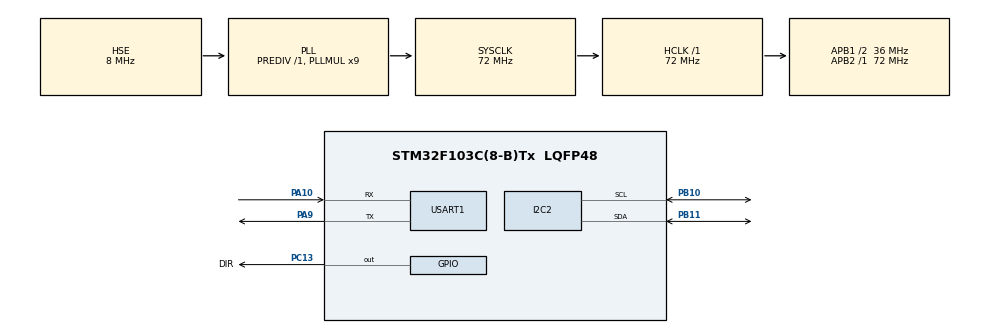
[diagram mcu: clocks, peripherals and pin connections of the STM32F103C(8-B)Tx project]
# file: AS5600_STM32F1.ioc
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I2C2.I2C_Mode=I2C_Fast
Mcu.Family=STM32F1
Mcu.Name=STM32F103C(8-B)Tx
Mcu.Package=LQFP48
NVIC.I2C2_EV_IRQn=true\:0\:0\:false\:false\:true\:true\:true\:true
NVIC.PriorityGroup=NVIC_PRIORITYGROUP_4
NVIC.USART1_IRQn=true\:0\:0\:false\:false\:true\:true\:true\:true
PA10.Mode=Asynchronous
PA10.Signal=USART1_RX
PA13.Mode=Serial_Wire
PA13.Signal=SYS_JTMS-SWDIO
PA14.Mode=Serial_Wire
PA14.Signal=SYS_JTCK-SWCLK
PA9.Mode=Asynchronous
PA9.Signal=USART1_TX
PB10.Mode=I2C
PB10.Signal=I2C2_SCL
PB11.Mode=I2C
PB11.Signal=I2C2_SDA
PC13-TAMPER-RTC.GPIO_Label=DIR
PC13-TAMPER-RTC.Signal=GPIO_Output
PC14-OSC32_IN.Mode=LSE-External-Oscillator
PC14-OSC32_IN.Signal=RCC_OSC32_IN
PC15-OSC32_OUT.Mode=LSE-External-Oscillator
PC15-OSC32_OUT.Signal=RCC_OSC32_OUT
PD0-OSC_IN.Mode=HSE-External-Oscillator
PD0-OSC_IN.Signal=RCC_OSC_IN
PD1-OSC_OUT.Mode=HSE-External-Oscillator
PD1-OSC_OUT.Signal=RCC_OSC_OUT
ProjectManager.HeapSize=0x200
ProjectManager.StackSize=0x400
ProjectManager.TargetToolchain=STM32CubeIDE
RCC.AHBFreq_Value=72000000
RCC.APB1CLKDivider=RCC_HCLK_DIV2
RCC.APB1Freq_Value=36000000
RCC.APB1TimFreq_Value=72000000
RCC.APB2Freq_Value=72000000
RCC.APB2TimFreq_Value=72000000
RCC.HCLKFreq_Value=72000000
RCC.PLLMUL=RCC_PLL_MUL9
RCC.PLLSourceVirtual=RCC_PLLSOURCE_HSE
RCC.SYSCLKFreq_VALUE=72000000
RCC.SYSCLKSource=RCC_SYSCLKSOURCE_PLLCLK
RCC.USBFreq_Value=72000000
USART1.VirtualMode=VM_ASYNC
board=custom

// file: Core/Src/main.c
/* USER CODE BEGIN Header */
/**
  ******************************************************************************
  * @file           : main.c
  * @brief          : Main program body
  ******************************************************************************
  * @attention
  *
  * Copyright (c) 2025 STMicroelectronics.
  * All rights reserved.
  *
  * This software is licensed under terms that can be found in the LICENSE file
  * in the root directory of this software component.
  * If no LICENSE file comes with this software, it is provided AS-IS.
  *
  ******************************************************************************
  */
/* USER CODE END Header */
#include "main.h"

/* USER CODE BEGIN Includes */
#include <stdio.h>
#include "AS5600.h"
/* USER CODE END Includes */

I2C_HandleTypeDef hi2c2;

UART_HandleTypeDef huart1;

void SystemClock_Config(void);
static void MX_GPIO_Init(void);
static void MX_USART1_UART_Init(void);
static void MX_I2C2_Init(void);

/* USER CODE BEGIN 0 */
AS5600_TypeDef sensor;

int _write(int file, char *ptr, int len){ //buat printf
	HAL_UART_Transmit_IT(&huart1, (uint8_t*)ptr, len);
	return len;
}

void scan_I2C_addresses(void) {
	uint8_t address;
	HAL_StatusTypeDef result;
	printf("Scanning I2C bus...\n");
	for (address = 1; address < 128; address++) { // Alamat 0x00 hingga 0x7F
		uint8_t i2c_address = address << 1; // I2C menggunakan format 7-bit
		result = HAL_I2C_IsDeviceReady(&hi2c2, i2c_address, 1, 10);

		if (result == HAL_OK) {
			printf("Device found at address: 0x%02X\r\n", address);
		}
	}
	printf("I2C scan complete.\n");
}
int tes;
/* USER CODE END 0 */

int main(void)
{

  /* MCU Configuration--------------------------------------------------------*/

  /* Reset of all peripherals, Initializes the Flash interface and the Systick. */
  HAL_Init();

  /* Configure the system clock */
  SystemClock_Config();

  /* Initialize all configured peripherals */
  MX_GPIO_Init();
  MX_USART1_UART_Init();
  MX_I2C2_Init();
  /* USER CODE BEGIN 2 */
  AS5600_Init(&sensor, &hi2c2);
  /* USER CODE END 2 */

  /* Infinite loop */
  while (1)
  {

    /* USER CODE BEGIN 3 */
	  // Membaca sudut dalam derajat
      float angle = AS5600_GetAngleDegrees(&sensor);
      printf("Angle: %.2f degrees\r\n", angle);
  }
  /* USER CODE END 3 */
}

void SystemClock_Config(void)
{
  RCC_OscInitTypeDef RCC_OscInitStruct = {0};
  RCC_ClkInitTypeDef RCC_ClkInitStruct = {0};

  /** Initializes the RCC Oscillators according to the specified parameters
  * in the RCC_OscInitTypeDef structure.
  */
  RCC_OscInitStruct.OscillatorType = RCC_OSCILLATORTYPE_HSE;
  RCC_OscInitStruct.HSEState = RCC_HSE_ON;
  RCC_OscInitStruct.HSEPredivValue = RCC_HSE_PREDIV_DIV1;
  RCC_OscInitStruct.HSIState = RCC_HSI_ON;
  RCC_OscInitStruct.PLL.PLLState = RCC_PLL_ON;
  RCC_OscInitStruct.PLL.PLLSource = RCC_PLLSOURCE_HSE;
  RCC_OscInitStruct.PLL.PLLMUL = RCC_PLL_MUL9;
  if (HAL_RCC_OscConfig(&RCC_OscInitStruct) != HAL_OK)
  {
    Error_Handler();
  }

  /** Initializes the CPU, AHB and APB buses clocks
  */
  RCC_ClkInitStruct.ClockType = RCC_CLOCKTYPE_HCLK|RCC_CLOCKTYPE_SYSCLK
                              |RCC_CLOCKTYPE_PCLK1|RCC_CLOCKTYPE_PCLK2;
  RCC_ClkInitStruct.SYSCLKSource = RCC_SYSCLKSOURCE_PLLCLK;
  RCC_ClkInitStruct.AHBCLKDivider = RCC_SYSCLK_DIV1;
  RCC_ClkInitStruct.APB1CLKDivider = RCC_HCLK_DIV2;
  RCC_ClkInitStruct.APB2CLKDivider = RCC_HCLK_DIV1;

  if (HAL_RCC_ClockConfig(&RCC_ClkInitStruct, FLASH_LATENCY_2) != HAL_OK)
  {
    Error_Handler();
  }
}

static void MX_I2C2_Init(void)
{

  hi2c2.Instance = I2C2;
  hi2c2.Init.ClockSpeed = 400000;
  hi2c2.Init.DutyCycle = I2C_DUTYCYCLE_2;
  hi2c2.Init.OwnAddress1 = 0;
  hi2c2.Init.AddressingMode = I2C_ADDRESSINGMODE_7BIT;
  hi2c2.Init.DualAddressMode = I2C_DUALADDRESS_DISABLE;
  hi2c2.Init.OwnAddress2 = 0;
  hi2c2.Init.GeneralCallMode = I2C_GENERALCALL_DISABLE;
  hi2c2.Init.NoStretchMode = I2C_NOSTRETCH_DISABLE;
  if (HAL_I2C_Init(&hi2c2) != HAL_OK)
  {
    Error_Handler();
  }

}

static void MX_USART1_UART_Init(void)
{

  huart1.Instance = USART1;
  huart1.Init.BaudRate = 115200;
  huart1.Init.WordLength = UART_WORDLENGTH_8B;
  huart1.Init.StopBits = UART_STOPBITS_1;
  huart1.Init.Parity = UART_PARITY_NONE;
  huart1.Init.Mode = UART_MODE_TX_RX;
  huart1.Init.HwFlowCtl = UART_HWCONTROL_NONE;
  huart1.Init.OverSampling = UART_OVERSAMPLING_16;
  if (HAL_UART_Init(&huart1) != HAL_OK)
  {
    Error_Handler();
  }

}

static void MX_GPIO_Init(void)
{
  GPIO_InitTypeDef GPIO_InitStruct = {0};

  /* GPIO Ports Clock Enable */
  __HAL_RCC_GPIOC_CLK_ENABLE();
  __HAL_RCC_GPIOD_CLK_ENABLE();
  __HAL_RCC_GPIOB_CLK_ENABLE();
  __HAL_RCC_GPIOA_CLK_ENABLE();

  /*Configure GPIO pin Output Level */
  HAL_GPIO_WritePin(DIR_GPIO_Port, DIR_Pin, GPIO_PIN_RESET);

  /*Configure GPIO pin : DIR_Pin */
  GPIO_InitStruct.Pin = DIR_Pin;
  GPIO_InitStruct.Mode = GPIO_MODE_OUTPUT_PP;
  GPIO_InitStruct.Pull = GPIO_NOPULL;
  GPIO_InitStruct.Speed = GPIO_SPEED_FREQ_LOW;
  HAL_GPIO_Init(DIR_GPIO_Port, &GPIO_InitStruct);

}

void Error_Handler(void)
{
  __disable_irq();
  while (1)
  {
  }
}
